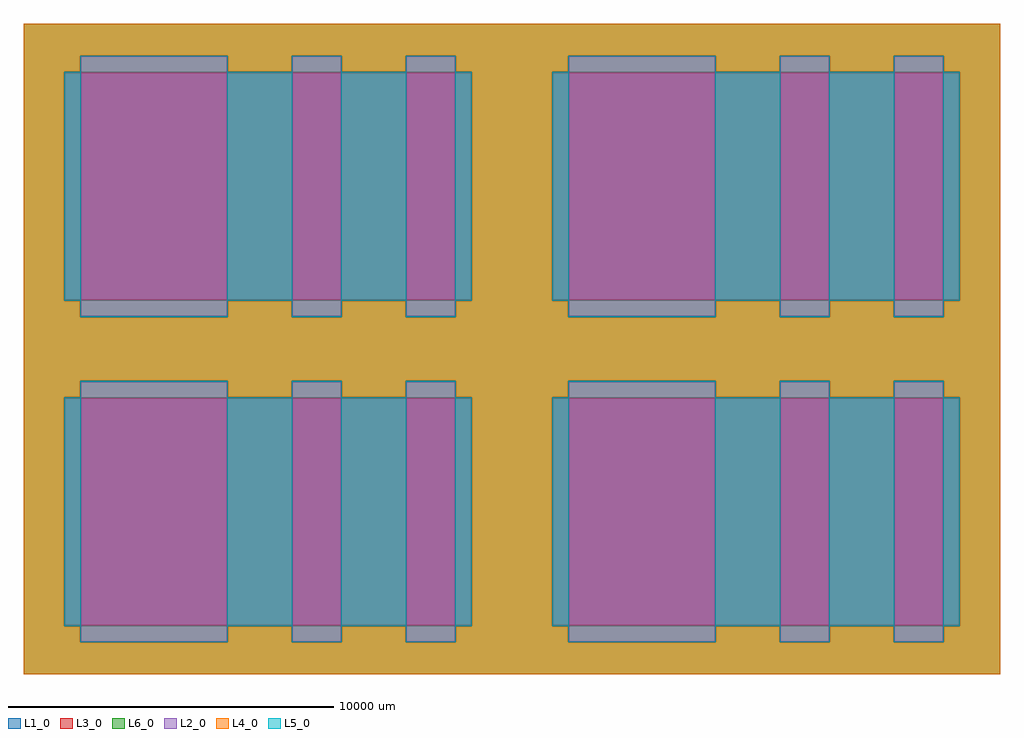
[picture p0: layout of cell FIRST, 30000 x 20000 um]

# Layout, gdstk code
import gdstk
lib = gdstk.Library(unit=1e-6, precision=1e-09)
def R(c, l, rs):  # rectangles x0, y0, x1, y1
    for r in rs: c.add(gdstk.rectangle(r[:2], r[2:], *l))
def P(c, l, *ps):  # polygons
    for p in ps: c.add(gdstk.Polygon(p, *l))
L1_0 = (1, 0)
L2_0 = (2, 0)
L3_0 = (3, 0)
L4_0 = (4, 0)
L5_0 = (5, 0)
L6_0 = (6, 0)

first = lib.new_cell('FIRST')
R(first, L1_0, [(-13750,-8500,-1250,-1500), (1250,-8500,13750,-1500), (-13750,1500,-1250,8500), (1250,1500,13750,8500)])
R(first, L2_0, [(-13250,-9000,-8750,-1000), (-6750,-9000,-5250,-1000), (-3250,-9000,-1750,-1000), (1750,-9000,6250,-1000), (8250,-9000,9750,-1000), (11750,-9000,13250,-1000), (-13250,1000,-8750,9000), (-6750,1000,-5250,9000), (-3250,1000,-1750,9000), (1750,1000,6250,9000), (8250,1000,9750,9000), (11750,1000,13250,9000)])
R(first, L3_0, [(-13740,-8490,-1260,-1510), (1260,-8490,13740,-1510), (-13740,1510,-1260,8490), (1260,1510,13740,8490)])
P(first, L4_0, [(15000,10000),(-15000,10000),(-15000,1480),(-13770,1480),(-13770,8520),(-13270,8520),(-13270,9020),(-8730,9020),(-8730,8520),(-6770,8520),(-6770,9020),(-5230,9020),(-5230,8520),(-3270,8520),(-3270,9020),(-1730,9020),(-1730,8520),(-1230,8520),(-1230,1480),(1230,1480),(1230,8520),(1730,8520),(1730,9020),(6270,9020),(6270,8520),(8230,8520),(8230,9020),(9770,9020),(9770,8520),(11730,8520),(11730,9020),(13270,9020),(13270,8520),(13770,8520),(13770,1480),(13270,1480),(13270,980),(11730,980),(11730,1480),(9770,1480),(9770,980),(8230,980),(8230,1480),(6270,1480),(6270,980),(1730,980),(1730,1480),(1230,1480),(-1230,1480),(-1730,1480),(-1730,980),(-3270,980),(-3270,1480),(-5230,1480),(-5230,980),(-6770,980),(-6770,1480),(-8730,1480),(-8730,980),(-13270,980),(-13270,1480),(-13770,1480),(-15000,1480),(-15000,-8520),(-13770,-8520),(-13770,-1480),(-13270,-1480),(-13270,-980),(-8730,-980),(-8730,-1480),(-6770,-1480),(-6770,-980),(-5230,-980),(-5230,-1480),(-3270,-1480),(-3270,-980),(-1730,-980),(-1730,-1480),(-1230,-1480),(-1230,-8520),(1230,-8520),(1230,-1480),(1730,-1480),(1730,-980),(6270,-980),(6270,-1480),(8230,-1480),(8230,-980),(9770,-980),(9770,-1480),(11730,-1480),(11730,-980),(13270,-980),(13270,-1480),(13770,-1480),(13770,-8520),(13270,-8520),(13270,-9020),(11730,-9020),(11730,-8520),(9770,-8520),(9770,-9020),(8230,-9020),(8230,-8520),(6270,-8520),(6270,-9020),(1730,-9020),(1730,-8520),(1230,-8520),(-1230,-8520),(-1730,-8520),(-1730,-9020),(-3270,-9020),(-3270,-8520),(-5230,-8520),(-5230,-9020),(-6770,-9020),(-6770,-8520),(-8730,-8520),(-8730,-9020),(-13270,-9020),(-13270,-8520),(-13770,-8520),(-15000,-8520),(-15000,-10000),(15000,-10000)])
P(first, L5_0, [(1730,1000),(1750,1000),(1750,9000),(6250,9000),(6250,1000),(1750,1000),(1730,1000),(1730,980),(6270,980),(6270,1480),(8230,1480),(8230,1000),(8250,1000),(8250,9000),(9750,9000),(9750,1000),(8250,1000),(8230,1000),(8230,980),(9770,980),(9770,1480),(11730,1480),(11730,1000),(11750,1000),(11750,9000),(13250,9000),(13250,1000),(11750,1000),(11730,1000),(11730,980),(13270,980),(13270,1480),(13770,1480),(13770,8520),(13270,8520),(13270,9020),(11730,9020),(11730,8520),(9770,8520),(9770,9020),(8230,9020),(8230,8520),(6270,8520),(6270,9020),(1730,9020),(1730,8520),(1230,8520),(1230,1480),(1730,1480)],
  [(-1730,8520),(-1730,9020),(-3270,9020),(-3270,8520),(-5230,8520),(-5230,9020),(-6770,9020),(-6770,8520),(-8730,8520),(-8730,9020),(-13270,9020),(-13270,8520),(-13770,8520),(-13770,1480),(-13270,1480),(-13270,1000),(-13250,1000),(-13250,9000),(-8750,9000),(-8750,1000),(-13250,1000),(-13270,1000),(-13270,980),(-8730,980),(-8730,1480),(-6770,1480),(-6770,1000),(-6750,1000),(-6750,9000),(-5250,9000),(-5250,1000),(-6750,1000),(-6770,1000),(-6770,980),(-5230,980),(-5230,1480),(-3270,1480),(-3270,1000),(-3250,1000),(-3250,9000),(-1750,9000),(-1750,1000),(-3250,1000),(-3270,1000),(-3270,980),(-1730,980),(-1730,1480),(-1230,1480),(-1230,8520)],
  [(1730,-9000),(1750,-9000),(1750,-1000),(6250,-1000),(6250,-9000),(1750,-9000),(1730,-9000),(1730,-9020),(6270,-9020),(6270,-8520),(8230,-8520),(8230,-9000),(8250,-9000),(8250,-1000),(9750,-1000),(9750,-9000),(8250,-9000),(8230,-9000),(8230,-9020),(9770,-9020),(9770,-8520),(11730,-8520),(11730,-9000),(11750,-9000),(11750,-1000),(13250,-1000),(13250,-9000),(11750,-9000),(11730,-9000),(11730,-9020),(13270,-9020),(13270,-8520),(13770,-8520),(13770,-1480),(13270,-1480),(13270,-980),(11730,-980),(11730,-1480),(9770,-1480),(9770,-980),(8230,-980),(8230,-1480),(6270,-1480),(6270,-980),(1730,-980),(1730,-1480),(1230,-1480),(1230,-8520),(1730,-8520)],
  [(-1730,-1480),(-1730,-980),(-3270,-980),(-3270,-1480),(-5230,-1480),(-5230,-980),(-6770,-980),(-6770,-1480),(-8730,-1480),(-8730,-980),(-13270,-980),(-13270,-1480),(-13770,-1480),(-13770,-8520),(-13270,-8520),(-13270,-9000),(-13250,-9000),(-13250,-1000),(-8750,-1000),(-8750,-9000),(-13250,-9000),(-13270,-9000),(-13270,-9020),(-8730,-9020),(-8730,-8520),(-6770,-8520),(-6770,-9000),(-6750,-9000),(-6750,-1000),(-5250,-1000),(-5250,-9000),(-6750,-9000),(-6770,-9000),(-6770,-9020),(-5230,-9020),(-5230,-8520),(-3270,-8520),(-3270,-9000),(-3250,-9000),(-3250,-1000),(-1750,-1000),(-1750,-9000),(-3250,-9000),(-3270,-9000),(-3270,-9020),(-1730,-9020),(-1730,-8520),(-1230,-8520),(-1230,-1480)])
P(first, L6_0, [(15000,10000),(-15000,10000),(-15000,1500),(-13750,1500),(-13750,8500),(-1250,8500),(-1250,1500),(1250,1500),(1250,8500),(13750,8500),(13750,1500),(1250,1500),(-1250,1500),(-13750,1500),(-15000,1500),(-15000,-8500),(-13750,-8500),(-13750,-1500),(-1250,-1500),(-1250,-8500),(1250,-8500),(1250,-1500),(13750,-1500),(13750,-8500),(1250,-8500),(-1250,-8500),(-13750,-8500),(-15000,-8500),(-15000,-10000),(15000,-10000)])

lib.write_gds('FIRST.gds')
